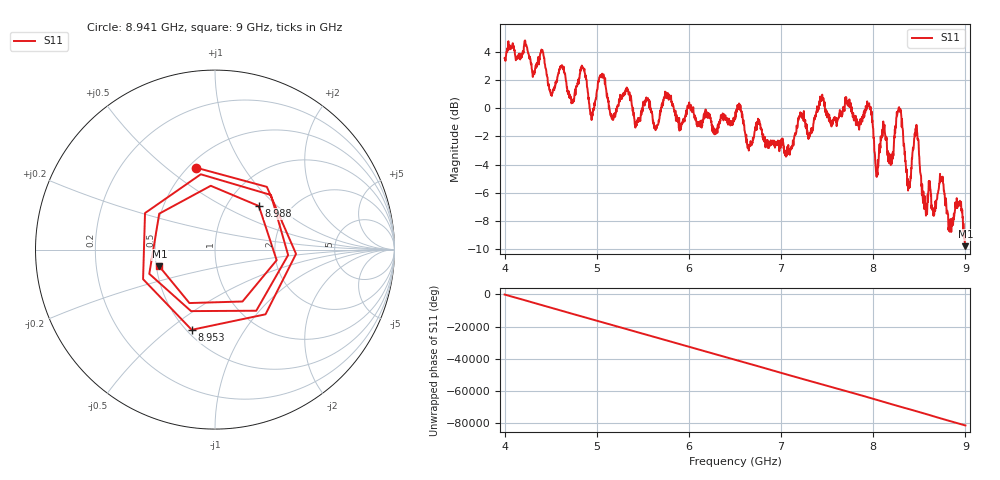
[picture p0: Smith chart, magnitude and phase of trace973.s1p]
! Created with skrf 1.8.0 (http://scikit-rf.org).
# Hz S RI R 50.0
!freq ReS11 ImS11
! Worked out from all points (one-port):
!   1601 points, 4 GHz to 9 GHz, reference 50 ohm
!   lowest |S11| = -9.8 dB at 9 GHz (marker M1), VSWR 1.96, Z = 26 - j5.45 ohm
!   |S11| at or under -10 dB: nowhere
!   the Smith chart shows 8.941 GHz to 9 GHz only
!   S11 on the Smith chart (normalised r, x): 8.941 GHz: 0.54, +0.64; 8.953 GHz: 0.53, -0.61; 8.988 GHz: 1.40, +0.77; 9 GHz: 0.52, -0.11
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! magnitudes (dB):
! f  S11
! 4 GHz  3.6
! 4.406 GHz  4.1
! 4.509 GHz  1.0
! 4.625 GHz  2.9
! 4.731 GHz  0.4
! 4.853 GHz  2.9
! 4.947 GHz  -0.3
! 5.05 GHz  2.4
! 5.166 GHz  -0.6
! 5.25 GHz  0.5
! 5.875 GHz  -0.7
! 6.5 GHz  -0.6
! 7.125 GHz  -2.7
! 7.438 GHz  0.8
! 7.75 GHz  0.1
! 7.959 GHz  0.1
! 8.038 GHz  -4.9
! 8.106 GHz  -1.2
! 8.197 GHz  -3.4
! 8.281 GHz  0.1
! 8.375 GHz  -5.0
! 8.466 GHz  -1.9
! 8.559 GHz  -6.2
! 8.738 GHz  -4.9
! 8.941 GHz  -6.6
! 8.953 GHz  -6.6
! 8.988 GHz  -9.3
! 9 GHz  -9.8
